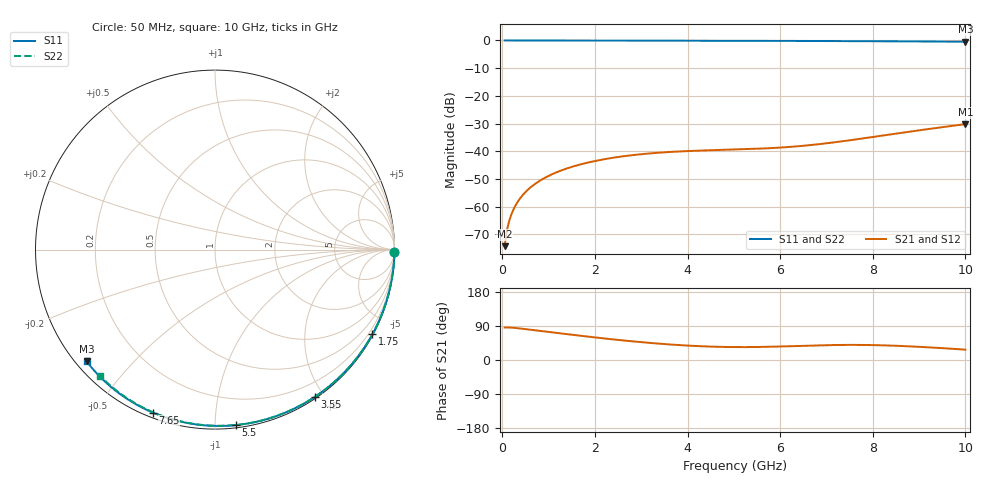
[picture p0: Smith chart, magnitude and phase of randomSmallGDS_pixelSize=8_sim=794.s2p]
! freq	dB(S11)	phase(S11)	dB(S12)	phase(S12)
!  dB(S21)	phase(S21)	dB(S22)	phase(S22)
!S-par simulation data
#  GHz  S  DB  R 50
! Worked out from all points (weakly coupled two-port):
!   200 points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, 50 MHz to 10 GHz, reference 50 ohm
!   highest |S21| = -30.19 dB at 10 GHz (marker M1); lowest = -74.2 dB at 50 MHz (marker M2)
!   lowest |S11| = -0.5 dB at 10 GHz (marker M3), VSWR 37.74, Z = 1.51 - j18.7 ohm
!   |S11| at or under -10 dB: nowhere
!   |S22| runs from -0.4 to 0.0 dB; largest |S21 - S12| = 0
!   S11 on the Smith chart (normalised r, x): 50 MHz: open; 1.75 GHz: 0.03, -3.98; 3.55 GHz: 0.02, -1.89; 5.5 GHz: 0.02, -1.12; 7.65 GHz: 0.02, -0.69; 10 GHz: 0.03, -0.37
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0.05  -0.00 -0.8  -74.21 85.8  -74.21 85.8  -0.00 -0.8
0.1  -0.00 -1.6  -68.47 85.9  -68.47 85.9  -0.00 -1.6
0.15  -0.00 -2.5  -65.04 85.8  -65.04 85.8  -0.00 -2.3
0.2  -0.00 -3.3  -62.58 85.4  -62.58 85.4  -0.00 -3.1
0.25  -0.00 -4.1  -60.66 84.9  -60.66 84.9  -0.00 -3.9
0.35  -0.00 -5.7  -57.77 83.6  -57.77 83.6  -0.00 -5.4
0.5  -0.01 -8.2  -54.71 81.5  -54.71 81.5  -0.01 -7.8
0.7  -0.01 -11.4  -51.84 78.6  -51.84 78.6  -0.01 -10.8
1  -0.02 -16.3  -48.86 74.1  -48.86 74.1  -0.02 -15.4
1.35  -0.03 -21.9  -46.43 68.9  -46.43 68.9  -0.03 -20.8
1.75  -0.04 -28.2  -44.45 63.1  -44.45 63.1  -0.03 -26.8
2.5  -0.05 -39.9  -42.04 53.0  -42.04 53.0  -0.05 -37.9
3.4  -0.07 -53.6  -40.47 42.9  -40.47 42.9  -0.07 -50.9
3.55  -0.07 -55.8  -40.30 41.6  -40.30 41.6  -0.07 -53.0
4.3  -0.09 -66.7  -39.71 36.3  -39.71 36.3  -0.09 -63.4
5.05  -0.12 -77.2  -39.34 34.1  -39.34 34.1  -0.11 -73.5
5.5  -0.13 -83.3  -39.08 34.3  -39.08 34.3  -0.13 -79.3
6.7  -0.19 -99.0  -37.67 38.3  -37.67 38.3  -0.18 -94.4
7.65  -0.25 -110.9  -35.67 39.9  -35.67 39.9  -0.24 -105.7
8.35  -0.30 -119.4  -33.97 38.2  -33.97 38.2  -0.29 -113.9
9.2  -0.38 -129.6  -31.96 33.5  -31.96 33.5  -0.36 -123.5
10  -0.46 -139.0  -30.19 27.3  -30.19 27.3  -0.44 -132.5
